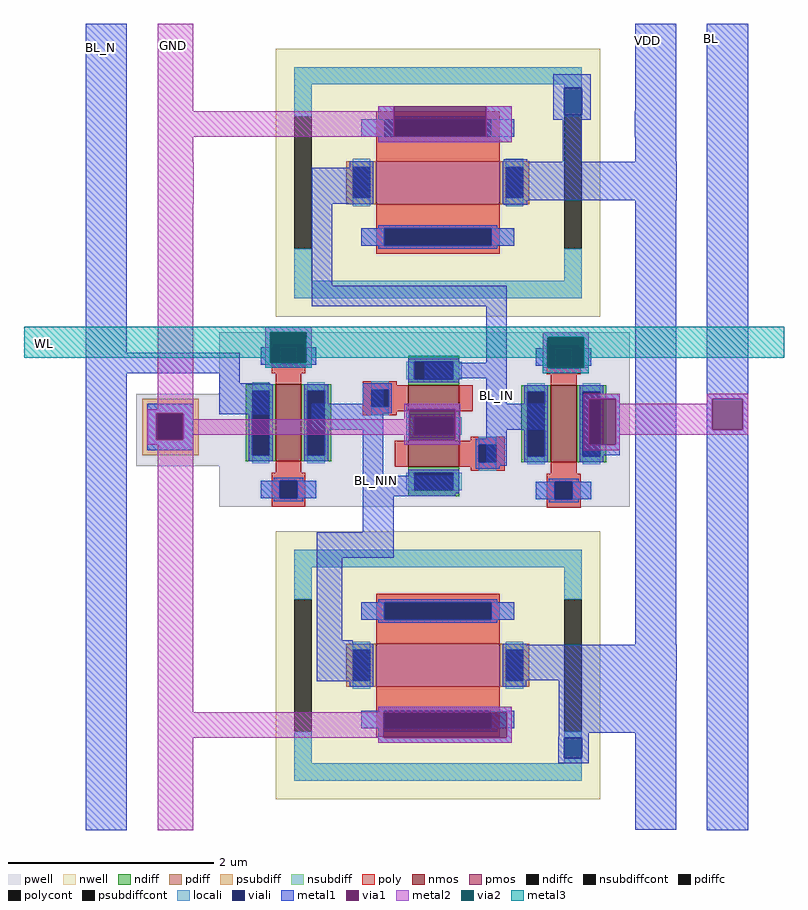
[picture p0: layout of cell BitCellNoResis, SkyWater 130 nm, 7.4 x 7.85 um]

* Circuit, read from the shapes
.subckt BitCellNoResis VDD GND WL BL BL_N BL_IN BL_NIN
XM1 BL_NIN WL BL_N GND sky130_fd_pr__nfet_01v8 w=0.75 l=0.25
XM2 GND BL_IN BL_NIN GND sky130_fd_pr__nfet_01v8 w=0.5 l=0.25
XM3 BL_IN BL_NIN GND GND sky130_fd_pr__nfet_01v8 w=0.5 l=0.25
XM4 BL WL BL_IN GND sky130_fd_pr__nfet_01v8 w=0.75 l=0.25
XM5 VDD GND BL_NIN VDD sky130_fd_pr__pfet_01v8 w=0.42 l=1.2
XM6 VDD GND BL_IN VDD sky130_fd_pr__pfet_01v8 w=0.42 l=1.2
.ends

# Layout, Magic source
magic
tech sky130A
magscale 1 2
<< pwell >>
rect -180 320 620 440
rect -341 179 620 320
rect -180 100 620 179
<< psubdiff >>
rect -330 280 -220 310
rect -330 230 -300 280
rect -250 230 -220 280
rect -330 200 -220 230
<< psubdiffcont >>
rect -300 230 -250 280
<< locali >>
rect -320 280 -230 300
rect -320 230 -300 280
rect -250 230 -230 280
rect -320 210 -230 230
<< viali >>
rect 492 862 526 916
rect -300 230 -250 280
rect 492 -390 526 -350
<< metal1 >>
rect -440 400 -360 1040
rect 471 916 544 942
rect 130 820 160 880
rect 340 820 390 880
rect 471 862 492 916
rect 526 862 544 916
rect 630 870 710 1040
rect 471 853 544 862
rect 130 810 390 820
rect 374 772 420 776
rect 489 772 526 853
rect 629 820 710 870
rect 630 772 710 820
rect 0 700 120 760
rect 0 690 80 700
rect 374 697 711 772
rect 0 530 40 690
rect 374 688 420 697
rect 0 490 380 530
rect -90 440 0 450
rect -440 360 -140 400
rect -90 380 -80 440
rect -10 380 0 440
rect 340 380 380 490
rect -90 370 0 380
rect -440 -530 -360 360
rect -180 340 -140 360
rect 220 350 380 380
rect 450 430 540 440
rect 450 370 460 430
rect 530 370 540 430
rect -320 282 -230 300
rect -320 230 -302 282
rect -250 230 -230 282
rect -180 280 -80 340
rect 100 300 140 340
rect 340 300 380 350
rect 530 310 600 320
rect 0 250 140 300
rect -320 210 -230 230
rect 100 160 140 250
rect 184 290 290 300
rect 184 230 190 290
rect 280 230 290 290
rect 184 220 290 230
rect 340 250 460 300
rect 340 180 380 250
rect 530 220 540 310
rect 592 220 600 310
rect 530 200 600 220
rect 100 120 280 160
rect 100 50 160 120
rect 10 0 160 50
rect 10 -160 60 0
rect 10 -170 80 -160
rect 630 -169 710 697
rect 770 310 850 1040
rect 770 250 780 310
rect 840 250 850 310
rect 10 -240 120 -170
rect 379 -238 711 -169
rect 130 -300 390 -290
rect 130 -350 140 -300
rect 380 -350 390 -300
rect 481 -340 710 -238
rect 481 -348 540 -340
rect 130 -360 390 -350
rect 480 -350 540 -348
rect 480 -390 492 -350
rect 526 -390 540 -350
rect 480 -400 540 -390
rect 630 -529 710 -340
rect 770 -530 850 250
<< via1 >>
rect 160 820 340 880
rect -80 380 -10 440
rect 460 370 530 430
rect -302 280 -250 282
rect -302 230 -300 280
rect -300 230 -250 280
rect 190 230 280 290
rect 540 220 592 310
rect 780 250 840 310
rect 140 -350 380 -300
<< metal2 >>
rect -300 870 -230 1040
rect 130 870 160 880
rect -300 820 160 870
rect 340 820 390 880
rect -300 770 -230 820
rect 130 810 390 820
rect -300 690 -229 770
rect -300 290 -230 690
rect -90 440 0 450
rect -90 380 -80 440
rect -10 380 0 440
rect -90 370 0 380
rect 450 430 540 440
rect 450 370 460 430
rect 530 370 540 430
rect 450 360 540 370
rect 530 310 600 320
rect -320 282 -230 290
rect -320 230 -302 282
rect -250 270 -230 282
rect 180 290 290 300
rect 180 270 190 290
rect -250 240 190 270
rect -250 230 -230 240
rect -320 220 -230 230
rect 180 230 190 240
rect 280 230 290 290
rect 180 220 290 230
rect 530 220 540 310
rect 592 300 600 310
rect 770 310 850 320
rect 770 300 780 310
rect 592 250 780 300
rect 840 250 850 310
rect 592 240 850 250
rect 592 220 600 240
rect -300 -300 -230 220
rect 530 210 600 220
rect 130 -300 390 -290
rect -300 -350 140 -300
rect 380 -350 390 -300
rect -300 -530 -230 -350
rect 130 -360 390 -350
<< via2 >>
rect -80 380 -10 440
rect 460 370 530 430
<< metal3 >>
rect -560 440 920 450
rect -560 390 -80 440
rect -90 380 -80 390
rect -10 430 920 440
rect -10 390 460 430
rect -10 380 0 390
rect -90 370 0 380
rect 450 370 460 390
rect 530 390 920 430
rect 530 370 540 390
rect 450 360 540 370
use sky130_fd_pr__nfet_01v8_BHJCXL  sky130_fd_pr__nfet_01v8_BHJCXL_0
transform 0 1 238 -1 0 257
box -137 -138 137 138
use sky130_fd_pr__nfet_01v8_HKHAX8  sky130_fd_pr__nfet_01v8_HKHAX8_0
transform 1 0 -45 0 1 263
box -83 -163 83 163
use sky130_fd_pr__nfet_01v8_HKHAX8  sky130_fd_pr__nfet_01v8_HKHAX8_1
transform 1 0 491 0 1 261
box -83 -163 83 163
use sky130_fd_pr__pfet_01v8_6KFL8S  sky130_fd_pr__pfet_01v8_6KFL8S_0
transform -1 0 246 0 -1 731
box -316 -261 316 261
use sky130_fd_pr__pfet_01v8_6KFL8S  sky130_fd_pr__pfet_01v8_6KFL8S_1
transform 1 0 246 0 1 -209
box -316 -261 316 261
<< labels >>
rlabel metal1 654 1008 654 1008 1 VDD
port 1 n
rlabel metal1 778 1012 778 1012 1 BL
port 4 n
rlabel metal1 -412 994 -412 994 1 BL_N
port 5 n
rlabel metal2 -268 998 -268 998 1 GND
port 2 n
rlabel metal3 -520 418 -520 418 7 WL
port 3 w
rlabel metal1 360 316 360 316 1 BL_IN
port 6 n
rlabel metal1 126 150 126 150 5 BL_NIN
port 7 s
<< end >>

# cell sky130_fd_pr__nfet_01v8_BHJCXL: kit device sky130_fd_pr__nfet_01v8, w 0.5 l 0.25 m 1 nf 2 diffcov 100 polycov 100 guard 0 glc 1 grc 1 gtc 1 gbc 1 tbcov 100 rlcov 100 topc 1 botc 1 poverlap 0 doverlap 1 lmin 0.15 wmin 0.42 class mosfet compatible {sky130_fd_pr__nfet_01v8 sky130_fd_pr__nfet_01v8_lvt sky130_fd_bs_flash__special_sonosfet_star sky130_fd_pr__nfet_g5v0d10v5 sky130_fd_pr__nfet_05v0_nvt sky130_fd_pr__nfet_03v3_nvt} full_metal 1 conn_gates 0 viasrc 100 viadrn 100 viagate 100 viagb 0 viagr 0 viagl 0 viagt 0 doports 1

# cell sky130_fd_pr__nfet_01v8_HKHAX8: kit device sky130_fd_pr__nfet_01v8, w 0.75 l 0.25 m 1 nf 1 diffcov 100 polycov 100 guard 0 glc 1 grc 1 gtc 1 gbc 1 tbcov 100 rlcov 100 topc 1 botc 1 poverlap 0 doverlap 1 lmin 0.15 wmin 0.42 class mosfet compatible {sky130_fd_pr__nfet_01v8 sky130_fd_pr__nfet_01v8_lvt sky130_fd_bs_flash__special_sonosfet_star sky130_fd_pr__nfet_g5v0d10v5 sky130_fd_pr__nfet_05v0_nvt sky130_fd_pr__nfet_03v3_nvt} full_metal 1 conn_gates 1 viasrc 100 viadrn 100 viagate 100 viagb 0 viagr 0 viagl 0 viagt 0 doports 1

# cell sky130_fd_pr__pfet_01v8_6KFL8S: kit device sky130_fd_pr__pfet_01v8, w 0.42 l 1.2 m 1 nf 1 diffcov 100 polycov 100 guard 1 glc 1 grc 1 gtc 0 gbc 0 tbcov 100 rlcov 100 topc 1 botc 1 poverlap 0 doverlap 1 lmin 0.15 wmin 0.42 class mosfet compatible {sky130_fd_pr__pfet_01v8 sky130_fd_pr__pfet_01v8_lvt sky130_fd_pr__pfet_01v8_hvt sky130_fd_pr__pfet_g5v0d10v5} full_metal 1 conn_gates 1 viasrc 100 viadrn 100 viagate 100 viagb 0 viagr 0 viagl 0 viagt 0 doports 1
